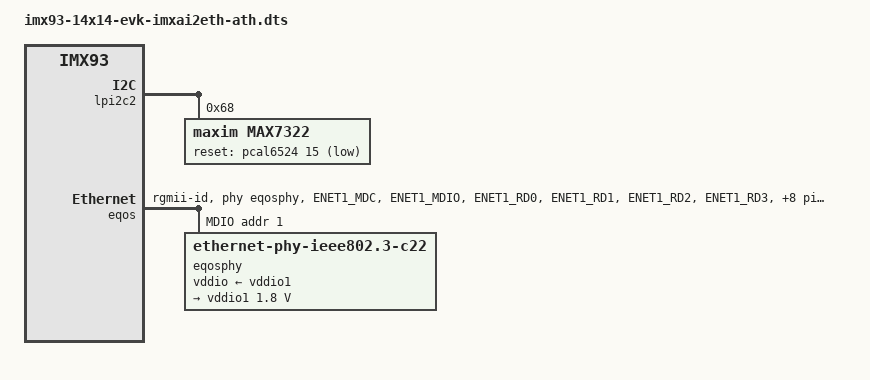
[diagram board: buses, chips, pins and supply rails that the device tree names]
// SPDX-License-Identifier: (GPL-2.0+ OR MIT)
/*
 * Copyright 2024 NXP
 */

#include "imx93-14x14-evk.dts"

&lpi2c2 {
	max7322: gpio@68 {
		compatible = "maxim,max7322";
		reg = <0x68>;
		gpio-controller;
		#gpio-cells = <2>;
		reset-gpios = <&pcal6524 15 GPIO_ACTIVE_LOW>;
	};
};

&eqos {
	pinctrl-names = "default";
	pinctrl-0 = <&pinctrl_eqos_rgmii>;
	phy-mode = "rgmii-id";
	phy-handle = <&eqosphy>;
	pinctrl-assert-gpios = <&max7322 0 GPIO_ACTIVE_HIGH>;
	snps,force_thresh_dma_mode;
	snps,mtl-tx-config = <&mtl_tx_setup>;
	snps,mtl-rx-config = <&mtl_rx_setup>;

	clk_csr = <5>;
	status = "okay";

	mdio {
		compatible = "snps,dwmac-mdio";
		#address-cells = <1>;
		#size-cells = <0>;
		clock-frequency = <2500000>;

		eqosphy: ethernet-phy@1 {
			compatible = "ethernet-phy-ieee802.3-c22";
			reg = <1>;
			qca,disable-smarteee;

			vddio-supply = <&vddio1>;

			vddio1: vddio-regulator {
				regulator-min-microvolt = <1800000>;
				regulator-max-microvolt = <1800000>;
			};
		};
	};

	mtl_tx_setup: tx-queues-config {
		snps,tx-queues-to-use = <5>;
		snps,tx-sched-sp;
		queue0 {
			snps,dcb-algorithm;
			snps,priority = <0x1>;
		};
		queue1 {
			snps,dcb-algorithm;
			snps,priority = <0x2>;
		};
		queue2 {
			snps,dcb-algorithm;
			snps,priority = <0x4>;
		};
		queue3 {
			snps,dcb-algorithm;
			snps,priority = <0x8>;
		};
		queue4 {
			snps,dcb-algorithm;
			snps,priority = <0xf0>;
		};
	};

	mtl_rx_setup: rx-queues-config {
		snps,rx-queues-to-use = <5>;
		snps,rx-sched-sp;
		queue0 {
			snps,dcb-algorithm;
			snps,priority = <0x1>;
			snps,map-to-dma-channel = <0>;
		};
		queue1 {
			snps,dcb-algorithm;
			snps,priority = <0x2>;
			snps,map-to-dma-channel = <1>;
		};
		queue2 {
			snps,dcb-algorithm;
			snps,priority = <0x4>;
			snps,map-to-dma-channel = <2>;
		};
		queue3 {
			snps,dcb-algorithm;
			snps,priority = <0x8>;
			snps,map-to-dma-channel = <3>;
		};
		queue4 {
			snps,dcb-algorithm;
			snps,priority = <0xf0>;
			snps,map-to-dma-channel = <4>;
		};
	};
};

&iomuxc {
	pinctrl_eqos_rgmii: eqosrgmiigrp {
		fsl,pins = <
			MX93_PAD_ENET1_MDC__ENET_QOS_MDC				0x57e
			MX93_PAD_ENET1_MDIO__ENET_QOS_MDIO				0x57e
			MX93_PAD_ENET1_RD0__ENET_QOS_RGMII_RD0				0x57e
			MX93_PAD_ENET1_RD1__ENET_QOS_RGMII_RD1				0x57e
			MX93_PAD_ENET1_RD2__ENET_QOS_RGMII_RD2				0x57e
			MX93_PAD_ENET1_RD3__ENET_QOS_RGMII_RD3				0x57e
			MX93_PAD_ENET1_RXC__CCM_ENET_QOS_CLOCK_GENERATE_RX_CLK		0x57e
			MX93_PAD_ENET1_RX_CTL__ENET_QOS_RGMII_RX_CTL			0x57e
			MX93_PAD_ENET1_TD0__ENET_QOS_RGMII_TD0				0x57e
			MX93_PAD_ENET1_TD1__ENET_QOS_RGMII_TD1				0x57e
			MX93_PAD_ENET1_TD2__ENET_QOS_RGMII_TD2				0x57e
			MX93_PAD_ENET1_TD3__ENET_QOS_RGMII_TD3				0x57e
			MX93_PAD_ENET1_TXC__CCM_ENET_QOS_CLOCK_GENERATE_TX_CLK		0x57e
			MX93_PAD_ENET1_TX_CTL__ENET_QOS_RGMII_TX_CTL			0x57e
		>;
	};
};
